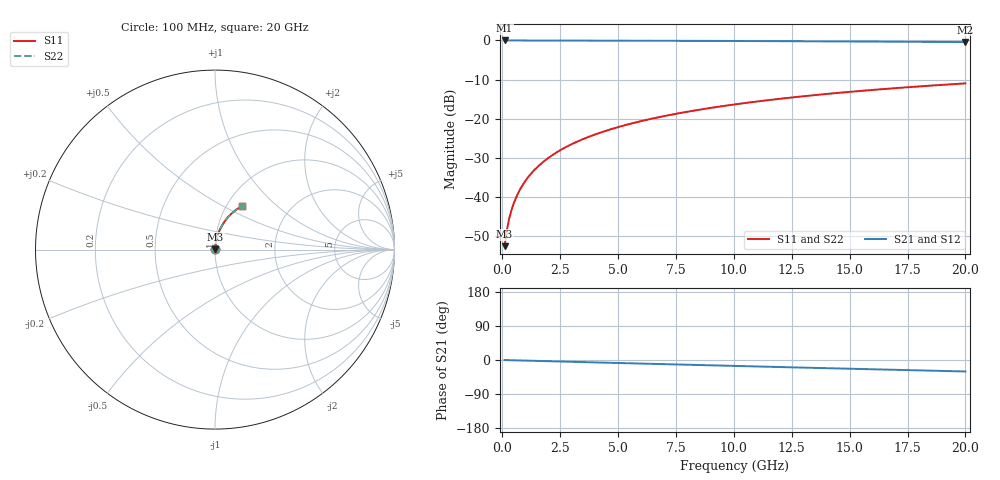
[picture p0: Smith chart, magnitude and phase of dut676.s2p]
! Touchstone file exported from HFSS 2026.1.0
!  File:  C:/ffzhzh/LocalFiles/Ansys_Project_Files/temp_train_BSMRDL_676_1783017428_53980.aedt
!  Generated:  02:38:37 AM Jul  3, 2026
!  Design:  BSMRDL
!  Project:  temp_train_BSMRDL_676_1783017428_53980
! Variables:
!  h_bsmrdl = 3.69um
!  h_ox = 20um
!  h_rdl = 5um
!  h_sub = 80um
!  h_tmrdl = 5um
!  h_tsv = 80um
!  h_via = 3um
!  l_bsmrdl = 411.81um
!  l_sub = 811.81um
!  l_tmrdl = 200um
!  m_sub = 200um
!  pitch = 58.69um
!  r_tsv = 6um
!  s_tmrdl = 10um
!  w_bsmrdl = 29.1um
!  w_sub = 500um
!  w_tmrdl = 12um
!  x_tsv_center1 = 206um
!  x_tsv_center2 = 646.91um
!  x_tsv_center3 = 858.91um
!  x_tsv_center4 = 1299.82um
!  x_tsv_center5 = 1511.82um
!  x_tsv_center6 = 1952.73um
# GHz S MA R 50.000000
! Terminal data exported
! Port[1] = BSM_RDL1_1_T1
! Port[2] = BSM_RDL1_1_T2
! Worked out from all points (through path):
!   200 points, 100 MHz to 20 GHz, reference 50 ohm
!   highest |S21| = -0.01 dB at 100 MHz (marker M1); lowest = -0.4 dB at 20 GHz (marker M2)
!   group delay of S21, straight-line fit = 4.21 ps
!   lowest |S11| = -52.5 dB at 100 MHz (marker M3), VSWR 1.00, Z = 50.2 + j0.175 ohm
!   |S11| at or under -10 dB: start of sweep to end of sweep
!   |S22| runs from -52.5 to -11.0 dB; largest |S21 - S12| = 3.1e-15
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0.1  0.002376 47.3  0.9984 -0.2  0.9984 -0.2  0.002376 47.3
! Gamma 0 0 0 0
! Port Impedance 50 0 50 0
0.2  0.003835 63.1  0.9983 -0.3  0.9983 -0.3  0.003835 63.1
0.3  0.005364 69.6  0.9982 -0.5  0.9982 -0.5  0.005364 69.6
0.4  0.006894 73.3  0.9981 -0.7  0.9981 -0.7  0.006894 73.3
0.5  0.008428 75.7  0.998 -0.8  0.998 -0.8  0.008428 75.7
0.7  0.01151 78.7  0.9979 -1.1  0.9979 -1.1  0.01151 78.7
0.8  0.01307 79.6  0.9979 -1.3  0.9979 -1.3  0.01307 79.6
1  0.01619 80.9  0.9978 -1.6  0.9978 -1.6  0.01619 80.9
1.2  0.01932 81.7  0.9977 -1.9  0.9977 -1.9  0.01932 81.7
1.4  0.02246 82.1  0.9976 -2.2  0.9976 -2.2  0.02246 82.1
1.7  0.02717 82.5  0.9974 -2.7  0.9974 -2.7  0.02717 82.5
2  0.03188 82.6  0.9972 -3.2  0.9972 -3.2  0.03188 82.6
2.7  0.04285 82.3  0.9966 -4.3  0.9966 -4.3  0.04285 82.3
3.5  0.05531 81.5  0.9957 -5.6  0.9957 -5.6  0.05532 81.5
4.2  0.06613 80.7  0.9947 -6.7  0.9947 -6.7  0.06613 80.7
5  0.07839 79.6  0.9936 -7.9  0.9936 -7.9  0.07839 79.6
6.8  0.1055 77.1  0.9904 -10.7  0.9904 -10.7  0.1055 77.1
8.3  0.1276 74.9  0.9872 -13.0  0.9872 -13.0  0.1276 74.9
10.1  0.1536 72.3  0.983 -15.7  0.983 -15.7  0.1536 72.3
13.4  0.1994 67.6  0.974 -20.7  0.974 -20.7  0.1994 67.6
16.7  0.2427 62.9  0.9636 -25.6  0.9636 -25.6  0.2427 62.9
20  0.2831 58.3  0.9521 -30.3  0.9521 -30.3  0.2831 58.3
